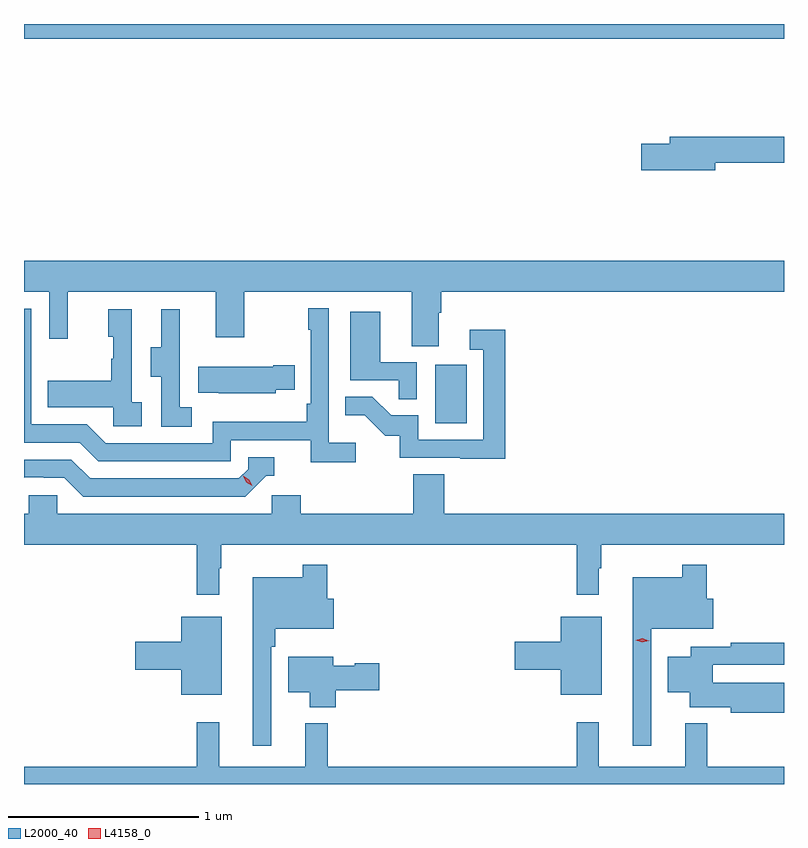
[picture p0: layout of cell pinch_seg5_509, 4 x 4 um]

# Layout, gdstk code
import gdstk
lib = gdstk.Library(unit=1e-6, precision=1e-09)
def R(c, l, rs):  # rectangles x0, y0, x1, y1
    for r in rs: c.add(gdstk.rectangle(r[:2], r[2:], *l))
def P(c, l, *ps):  # polygons
    for p in ps: c.add(gdstk.Polygon(p, *l))
L2000_40 = (2000, 40)
L4158_0 = (4158, 0)

pinch_seg5_509 = lib.new_cell('pinch_seg5_509')
R(pinch_seg5_509, L2000_40, [(917.054,840.084,917.218,840.391), (914.889,842.108,918.889,842.185)])
P(pinch_seg5_509, L2000_40, [(918.526,841.456),(918.889,841.456),(918.889,841.592),(918.287,841.592),(918.287,841.556),(918.138,841.556),(918.138,841.414),(918.526,841.414)],
  [(917.071,840.664),(917.084,840.664),(917.084,840.776),(918.889,840.776),(918.889,840.94),(914.889,840.94),(914.889,840.776),(915.021,840.776),(915.021,840.528),(915.119,840.528),(915.119,840.776),(915.899,840.776),(915.899,840.537),(916.047,840.537),(916.047,840.776),(916.931,840.776),(916.931,840.49),(917.071,840.49)],
  [(916.636,839.98),(916.494,839.98),(916.494,840.688),(916.386,840.688),(916.386,840.575),(916.398,840.575),(916.398,840.187),(916.378,840.187),(916.378,840.091),(915.882,840.091),(915.882,839.979),(915.318,839.979),(915.219,840.078),(914.928,840.078),(914.928,840.687),(914.889,840.687),(914.889,839.982),(915.182,839.982),(915.281,839.883),(915.978,839.883),(915.978,839.994),(916.397,839.994),(916.397,839.878),(916.636,839.878)],
  [(915.508,840.194),(915.456,840.194),(915.456,840.685),(915.332,840.685),(915.332,840.54),(915.358,840.54),(915.358,840.422),(915.348,840.422),(915.348,840.307),(915.013,840.307),(915.013,840.167),(915.36,840.167),(915.36,840.069),(915.508,840.069)],
  [(915.772,840.167),(915.708,840.167),(915.708,840.471),(915.71,840.471),(915.71,840.685),(915.611,840.685),(915.611,840.483),(915.557,840.483),(915.557,840.328),(915.612,840.328),(915.612,840.064),(915.772,840.064)],
  [(916.956,840.405),(916.765,840.405),(916.765,840.67),(916.607,840.67),(916.607,840.309),(916.861,840.309),(916.861,840.211),(916.956,840.211)],
  [(917.423,840.577),(917.235,840.577),(917.235,840.471),(917.307,840.471),(917.307,839.997),(916.965,839.997),(916.965,840.126),(916.821,840.126),(916.723,840.224),(916.579,840.224),(916.579,840.125),(916.683,840.125),(916.79,840.018),(916.867,840.018),(916.867,839.901),(917.185,839.901),(917.185,839.896),(917.423,839.896)],
  [(916.215,840.26),(916.313,840.26),(916.313,840.39),(916.202,840.39),(916.202,840.382),(915.805,840.382),(915.805,840.245),(915.913,840.245),(915.913,840.242),(916.215,840.242)],
  [(916.164,839.808),(916.207,839.808),(916.207,839.904),(916.068,839.904),(916.068,839.841),(916.02,839.793),(915.237,839.793),(915.138,839.892),(914.889,839.892),(914.889,839.797),(914.891,839.799),(914.994,839.799),(914.994,839.796),(915.101,839.796),(915.2,839.697),(916.053,839.697)],
  [(915.916,839.321),(915.928,839.321),(915.928,839.444),(917.797,839.444),(917.797,839.181),(917.914,839.181),(917.914,839.321),(917.926,839.321),(917.926,839.444),(918.889,839.444),(918.889,839.608),(917.102,839.608),(917.102,839.816),(916.937,839.816),(916.937,839.608),(916.346,839.608),(916.346,839.706),(916.194,839.706),(916.194,839.608),(915.063,839.608),(915.063,839.706),(914.913,839.706),(914.913,839.608),(914.889,839.608),(914.889,839.444),(915.799,839.444),(915.799,839.181),(915.916,839.181)],
  [(916.191,838.907),(916.211,838.907),(916.211,839.003),(916.519,839.003),(916.519,839.161),(916.484,839.161),(916.484,839.338),(916.356,839.338),(916.356,839.272),(916.094,839.272),(916.094,838.386),(916.191,838.386)],
  [(918.189,839.003),(918.517,839.003),(918.517,839.161),(918.482,839.161),(918.482,839.338),(918.354,839.338),(918.354,839.272),(918.092,839.272),(918.092,838.386),(918.189,838.386)],
  [(915.931,839.065),(915.716,839.065),(915.716,838.934),(915.474,838.934),(915.474,838.787),(915.716,838.787),(915.716,838.655),(915.931,838.655)],
  [(917.929,839.065),(917.714,839.065),(917.714,838.934),(917.472,838.934),(917.472,838.787),(917.714,838.787),(917.714,838.655),(917.929,838.655)],
  [(918.889,838.717),(918.514,838.717),(918.514,838.812),(918.889,838.812),(918.889,838.928),(918.61,838.928),(918.61,838.908),(918.398,838.908),(918.398,838.855),(918.278,838.855),(918.278,838.667),(918.392,838.667),(918.392,838.589),(918.608,838.589),(918.608,838.559),(918.889,838.559)],
  [(916.529,838.678),(916.759,838.678),(916.759,838.82),(916.629,838.82),(916.629,838.807),(916.516,838.807),(916.516,838.855),(916.28,838.855),(916.28,838.667),(916.394,838.667),(916.394,838.589),(916.529,838.589)],
  [(918.889,838.276),(918.485,838.276),(918.485,838.504),(918.368,838.504),(918.368,838.276),(917.915,838.276),(917.915,838.51),(917.797,838.51),(917.797,838.276),(916.487,838.276),(916.487,838.504),(916.37,838.504),(916.37,838.276),(915.917,838.276),(915.917,838.51),(915.799,838.51),(915.799,838.276),(914.889,838.276),(914.889,838.185),(918.889,838.185)])
P(pinch_seg5_509, L4158_0, [(918.143,838.931),(918.108,838.942),(918.108,838.942),(918.108,838.942),(918.144,838.951),(918.178,838.939),(918.179,838.939),(918.178,838.939)],
  [(916.09,839.754),(916.06,839.774),(916.044,839.807),(916.044,839.807),(916.044,839.807),(916.075,839.787),(916.09,839.754),(916.09,839.754)])

lib.write_gds('pinch_seg5_509.gds')
